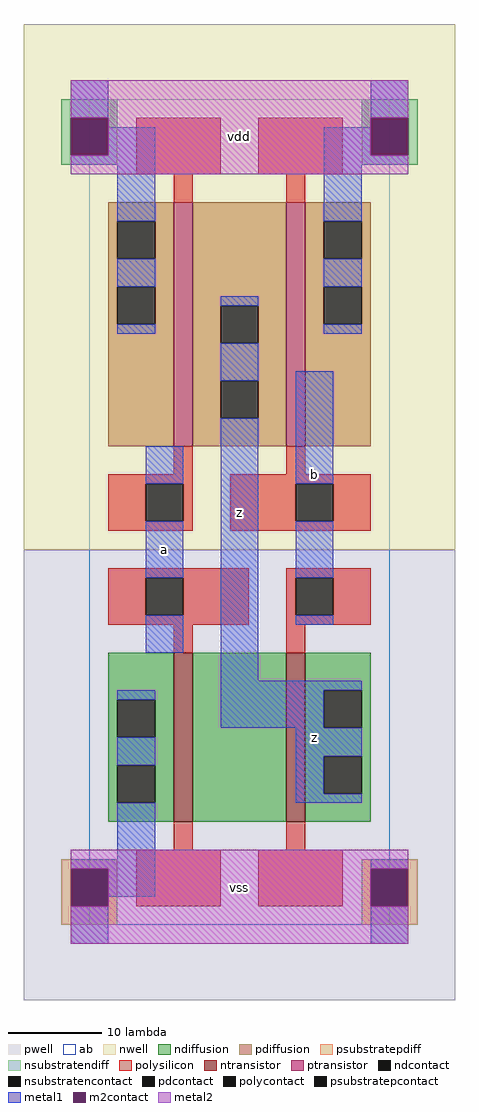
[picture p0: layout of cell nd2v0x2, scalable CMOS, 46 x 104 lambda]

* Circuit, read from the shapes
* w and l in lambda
.subckt nd2v0x2 a b vdd vss z
M1 n1 a vss vss nfet w=18 l=2
M2 z b n1 vss nfet w=18 l=2
M3 z a vdd vdd pfet w=26 l=2
M4 vdd b z vdd pfet w=26 l=2
.ends

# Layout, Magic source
magic
tech scmos
<< ab >>
rect 0 0 32 88
<< pwell >>
rect -7 -8 39 40
<< nwell >>
rect -7 40 39 96
<< polysilicon >>
rect 5 80 14 86
rect 18 80 27 86
rect 9 77 11 80
rect 21 77 23 80
rect 9 48 11 51
rect 21 48 23 51
rect 2 47 11 48
rect 2 43 6 47
rect 10 43 11 47
rect 2 42 11 43
rect 15 47 30 48
rect 15 43 22 47
rect 26 43 30 47
rect 15 42 30 43
rect 2 37 17 38
rect 2 33 6 37
rect 10 33 17 37
rect 2 32 17 33
rect 21 37 30 38
rect 21 33 22 37
rect 26 33 30 37
rect 21 32 30 33
rect 9 29 11 32
rect 21 29 23 32
rect 9 8 11 11
rect 21 8 23 11
rect 5 2 14 8
rect 18 2 27 8
<< ndiffusion >>
rect 2 24 9 29
rect 2 20 3 24
rect 7 20 9 24
rect 2 17 9 20
rect 2 13 3 17
rect 7 13 9 17
rect 2 11 9 13
rect 11 11 21 29
rect 23 25 30 29
rect 23 21 25 25
rect 29 21 30 25
rect 23 18 30 21
rect 23 14 25 18
rect 29 14 30 18
rect 23 11 30 14
<< pdiffusion >>
rect 2 75 9 77
rect 2 71 3 75
rect 7 71 9 75
rect 2 68 9 71
rect 2 64 3 68
rect 7 64 9 68
rect 2 51 9 64
rect 11 66 21 77
rect 11 62 14 66
rect 18 62 21 66
rect 11 58 21 62
rect 11 54 14 58
rect 18 54 21 58
rect 11 51 21 54
rect 23 75 30 77
rect 23 71 25 75
rect 29 71 30 75
rect 23 68 30 71
rect 23 64 25 68
rect 29 64 30 68
rect 23 51 30 64
<< metal1 >>
rect -2 86 2 90
rect 30 86 34 90
rect 2 82 7 85
rect -2 81 7 82
rect 3 75 7 81
rect 3 68 7 71
rect 25 82 30 85
rect 25 81 34 82
rect 25 75 29 81
rect 25 68 29 71
rect 3 63 7 64
rect 14 66 18 67
rect 25 63 29 64
rect 14 58 18 62
rect 6 47 10 51
rect 6 37 10 43
rect 6 29 10 33
rect 14 26 18 54
rect 22 47 26 59
rect 22 37 26 43
rect 22 32 26 33
rect 14 25 29 26
rect 3 24 7 25
rect 14 21 25 25
rect 3 17 7 20
rect 22 18 29 21
rect 22 14 25 18
rect 22 13 29 14
rect 3 7 7 13
rect -2 6 7 7
rect 2 3 7 6
rect 30 6 34 7
rect -2 -2 2 2
rect 30 -2 34 2
<< metal2 >>
rect -2 86 34 90
rect 2 82 30 86
rect -2 80 34 82
rect -2 6 34 8
rect 2 2 30 6
rect -2 -2 34 2
<< ntransistor >>
rect 9 11 11 29
rect 21 11 23 29
<< ptransistor >>
rect 9 51 11 77
rect 21 51 23 77
<< polycontact >>
rect 6 43 10 47
rect 22 43 26 47
rect 6 33 10 37
rect 22 33 26 37
<< ndcontact >>
rect 3 20 7 24
rect 3 13 7 17
rect 25 21 29 25
rect 25 14 29 18
<< pdcontact >>
rect 3 71 7 75
rect 3 64 7 68
rect 14 62 18 66
rect 14 54 18 58
rect 25 71 29 75
rect 25 64 29 68
<< m2contact >>
rect -2 82 2 86
rect 30 82 34 86
rect -2 2 2 6
rect 30 2 34 6
<< psubstratepcontact >>
rect -2 2 2 6
rect 30 2 34 6
<< nsubstratencontact >>
rect -2 82 2 86
rect 30 82 34 86
<< psubstratepdiff >>
rect -3 6 3 7
rect -3 2 -2 6
rect 2 2 3 6
rect 29 6 35 7
rect 29 2 30 6
rect 34 2 35 6
rect -3 0 3 2
rect 29 0 35 2
<< nsubstratendiff >>
rect -3 86 3 88
rect 29 86 35 88
rect -3 82 -2 86
rect 2 82 3 86
rect -3 81 3 82
rect 29 82 30 86
rect 34 82 35 86
rect 29 81 35 82
<< labels >>
rlabel metal1 8 40 8 40 6 a
rlabel metal1 16 44 16 44 6 z
rlabel metal1 24 20 24 20 6 z
rlabel metal1 24 48 24 48 6 b
rlabel metal2 16 4 16 4 6 vss
rlabel metal2 16 84 16 84 6 vdd
<< end >>
